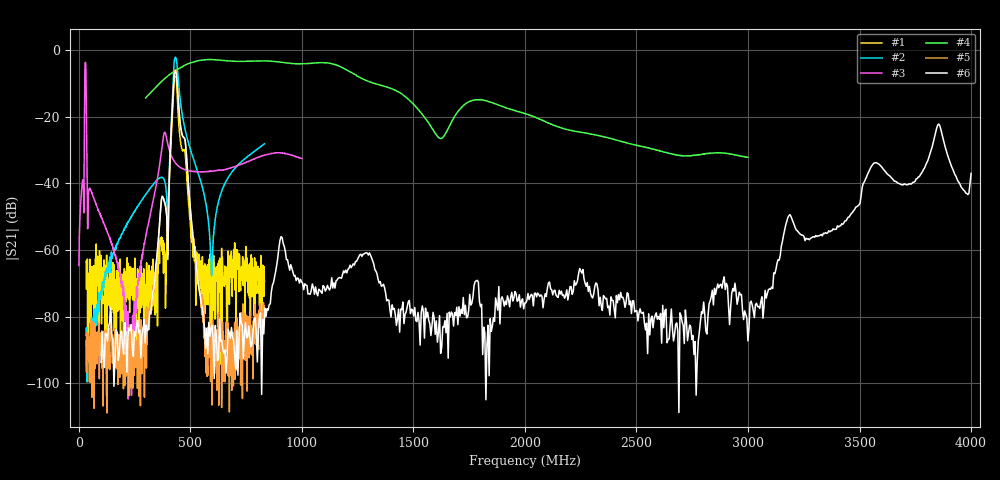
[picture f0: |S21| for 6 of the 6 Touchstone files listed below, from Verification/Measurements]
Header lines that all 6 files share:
# HZ S RI R 50
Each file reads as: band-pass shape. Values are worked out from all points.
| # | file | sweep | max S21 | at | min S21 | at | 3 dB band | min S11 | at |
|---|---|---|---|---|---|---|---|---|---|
| 1 | 1st_Mixer_2nd_Mixer_IF_path_OFF.s2p | 33 MHz to 833 MHz | -7.75 dB | 430.5 MHz | -94.3 dB | 635.7 MHz | 426.6 MHz-439.4 MHz | -24.2 dB | 33 MHz |
| 2 | 433MHz_BPF.s2p | 33 MHz to 833 MHz | -2.10 dB | 433.5 MHz | -99.7 dB | 37.96 MHz | 426.6 MHz-441.4 MHz | -36.8 dB | 433.5 MHz |
| 3 | Input_RXmode_wide.s2p | 1 MHz to 1 GHz | -3.63 dB | 30.07 MHz | -104.8 dB | 221.8 MHz | 27.6 MHz-31.93 MHz | -24.5 dB | 28.84 MHz |
| 4 | LNB_filter_LC.s2p | 300 MHz to 3 GHz | -2.79 dB | 587.6 MHz | -32.2 dB | 3 GHz | 442.1 MHz-1.198 GHz | -14.7 dB | 1.714 GHz |
| 5 | Triplexer_plus_433MHz_BPF.s2p | 33 MHz to 833 MHz | -5.88 dB | 433.5 MHz | -109.0 dB | 127.2 MHz | 426.6 MHz-439.4 MHz | -27.2 dB | 33 MHz |
| 6 | Triplexer_plus_433MHz_BPF_eval_wide.s2p | 100 MHz to 4 GHz | -6.09 dB | 433.5 MHz | -108.8 dB | 2.69 GHz | 428.6 MHz-438.3 MHz | -22.3 dB | 1.212 GHz |
